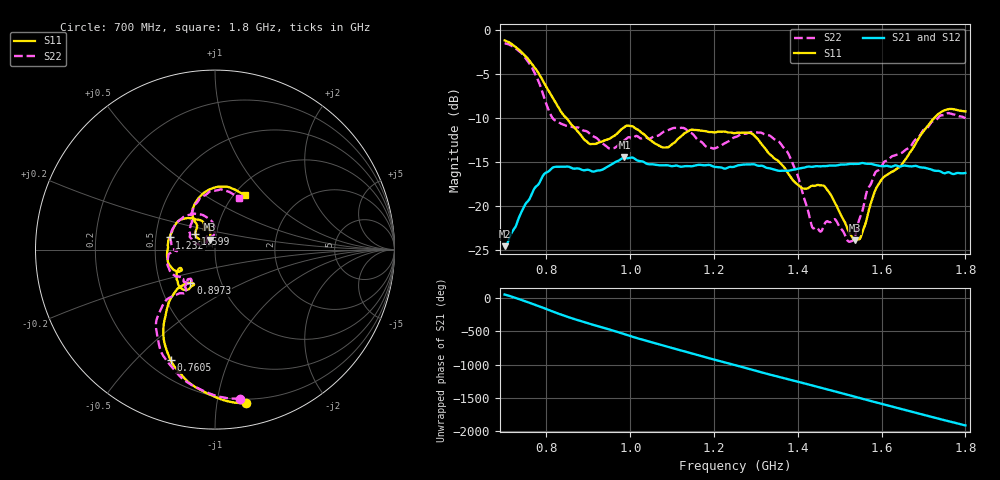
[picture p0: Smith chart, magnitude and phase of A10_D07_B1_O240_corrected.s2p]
! Created with skrf 1.9.0 (http://scikit-rf.org).
# Hz S RI R 50.0
!freq ReS11 ImS11 ReS21 ImS21 ReS12 ImS12 ReS22 ImS22
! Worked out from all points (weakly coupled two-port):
!   1601 points, 700 MHz to 1.8 GHz, reference 50 ohm
!   highest |S21| = -14.49 dB at 986 MHz (marker M1); lowest = -24.6 dB at 701.4 MHz (marker M2)
!   lowest |S11| = -23.9 dB at 1.537 GHz (marker M3), VSWR 1.14, Z = 46.8 + j5.29 ohm
!   |S11| at or under -10 dB: 847.2 MHz to 1.725 GHz (878.2 MHz wide, 68.3 % of centre)
!   |S22| runs from -24.1 to -1.5 dB; largest |S21 - S12| = 0.0037
!   S11 on the Smith chart (normalised r, x): 700 MHz: 0.17, -1.21; 760.5 MHz: 0.29, -0.64; 897.3 MHz: 0.71, -0.28; 1.232 GHz: 0.59, +0.09; 1.599 GHz: 0.79, +0.14; 1.8 GHz: 1.12, +0.77
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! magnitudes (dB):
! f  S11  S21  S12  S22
! 700 MHz  -1.2  -24.6  -24.4  -1.5
! 701.4 MHz  -1.2  -24.6  -24.2  -1.5
! 760.5 MHz  -3.6  -19.1  -19.0  -3.9
! 815.5 MHz  -7.7  -15.6  -15.7  -10.1
! 883.6 MHz  -12.0  -15.9  -15.8  -11.3
! 897.3 MHz  -12.7  -15.9  -16.0  -11.5
! 951.6 MHz  -12.3  -15.4  -15.4  -13.5
! 986 MHz  -11.0  -14.5  -14.6  -12.6
! 1.067 GHz  -13.1  -15.4  -15.3  -12.0
! 1.232 GHz  -11.6  -15.7  -15.6  -12.7
! 1.25 GHz  -11.7  -15.5  -15.5  -12.2
! 1.292 GHz  -11.8  -15.3  -15.3  -11.6
! 1.358 GHz  -15.1  -16.0  -16.0  -12.9
! 1.396 GHz  -17.4  -15.8  -15.8  -16.1
! 1.434 GHz  -17.7  -15.6  -15.5  -22.3
! 1.468 GHz  -18.0  -15.5  -15.5  -21.8
! 1.537 GHz  -23.9  -15.2  -15.2  -23.5
! 1.567 GHz  -21.0  -15.2  -15.2  -18.1
! 1.599 GHz  -17.0  -15.5  -15.5  -15.5
! 1.617 GHz  -16.3  -15.5  -15.5  -14.7
! 1.735 GHz  -9.5  -16.0  -16.1  -9.9
! 1.8 GHz  -9.3  -16.3  -16.3  -10.0
